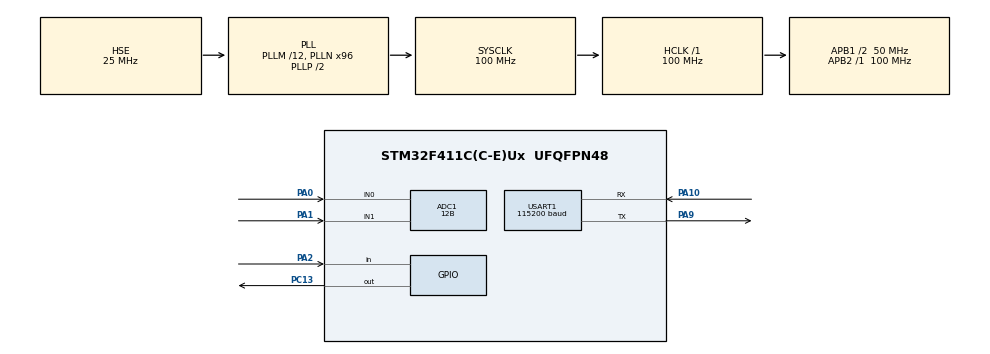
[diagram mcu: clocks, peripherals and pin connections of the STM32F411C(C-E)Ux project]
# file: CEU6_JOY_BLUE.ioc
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ADC1.Channel-0\#ChannelRegularConversion=ADC_CHANNEL_0
ADC1.Channel-1\#ChannelRegularConversion=ADC_CHANNEL_1
ADC1.ContinuousConvMode=ENABLE
ADC1.DMAContinuousRequests=DISABLE
ADC1.EOCSelection=ADC_EOC_SINGLE_CONV
ADC1.InjNumberOfConversion=0
ADC1.NbrOfConversion=2
ADC1.NbrOfConversionFlag=1
ADC1.Rank-0\#ChannelRegularConversion=1
ADC1.Rank-1\#ChannelRegularConversion=2
ADC1.Resolution=ADC_RESOLUTION_12B
ADC1.SamplingTime-0\#ChannelRegularConversion=ADC_SAMPLETIME_144CYCLES
ADC1.SamplingTime-1\#ChannelRegularConversion=ADC_SAMPLETIME_144CYCLES
ADC1.ScanConvMode=ENABLE
ADC1.master=1
Mcu.Family=STM32F4
Mcu.Name=STM32F411C(C-E)Ux
Mcu.Package=UFQFPN48
NVIC.ADC_IRQn=true\:0\:0\:false\:false\:true\:true\:true\:true
NVIC.PriorityGroup=NVIC_PRIORITYGROUP_4
NVIC.USART1_IRQn=true\:0\:0\:false\:false\:true\:true\:true\:true
PA0-WKUP.Signal=ADCx_IN0
PA1.Signal=ADCx_IN1
PA10.Mode=Asynchronous
PA10.Signal=USART1_RX
PA13.Mode=Serial_Wire
PA13.Signal=SYS_JTMS-SWDIO
PA14.Mode=Serial_Wire
PA14.Signal=SYS_JTCK-SWCLK
PA2.GPIO_PuPd=GPIO_PULLUP
PA2.Signal=GPIO_Input
PA9.Mode=Asynchronous
PA9.Signal=USART1_TX
PC13-ANTI_TAMP.Signal=GPIO_Output
PH0\ -\ OSC_IN.Mode=HSE-External-Oscillator
PH0\ -\ OSC_IN.Signal=RCC_OSC_IN
PH1\ -\ OSC_OUT.Mode=HSE-External-Oscillator
PH1\ -\ OSC_OUT.Signal=RCC_OSC_OUT
ProjectManager.HeapSize=0x200
ProjectManager.StackSize=0x400
ProjectManager.TargetToolchain=STM32CubeIDE
RCC.48MHZClocksFreq_Value=50000000
RCC.AHBFreq_Value=100000000
RCC.APB1CLKDivider=RCC_HCLK_DIV2
RCC.APB1Freq_Value=50000000
RCC.APB1TimFreq_Value=100000000
RCC.APB2Freq_Value=100000000
RCC.APB2TimFreq_Value=100000000
RCC.CortexFreq_Value=100000000
RCC.HCLKFreq_Value=100000000
RCC.HSE_VALUE=25000000
RCC.HSI_VALUE=16000000
RCC.LSE_VALUE=32768
RCC.PLLM=12
RCC.PLLN=96
RCC.PLLSourceVirtual=RCC_PLLSOURCE_HSE
RCC.SYSCLKFreq_VALUE=100000000
RCC.SYSCLKSource=RCC_SYSCLKSOURCE_PLLCLK
RCC.VCOOutputFreq_Value=200000000
SH.ADCx_IN0.0=ADC1_IN0,IN0
SH.ADCx_IN1.0=ADC1_IN1,IN1
USART1.BaudRate=115200
USART1.VirtualMode=VM_ASYNC
board=custom

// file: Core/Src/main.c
/* USER CODE BEGIN Header */
/**
  ******************************************************************************
  * @file           : main.c
  * @brief          : Main program body
  ******************************************************************************
  * @attention
  *
  * Copyright (c) 2026 STMicroelectronics.
  * All rights reserved.
  *
  * This software is licensed under terms that can be found in the LICENSE file
  * in the root directory of this software component.
  * If no LICENSE file comes with this software, it is provided AS-IS.
  *
  ******************************************************************************
  */
/* USER CODE END Header */
#include "main.h"
#include "adc.h"
#include "usart.h"
#include "gpio.h"

/* USER CODE BEGIN Includes */
uint32_t adcX, adcY;
uint8_t tx = 0x05;
/* USER CODE END Includes */

void SystemClock_Config(void);

int main(void)
{

  /* MCU Configuration--------------------------------------------------------*/

  /* Reset of all peripherals, Initializes the Flash interface and the Systick. */
  HAL_Init();

  /* Configure the system clock */
  SystemClock_Config();

  /* Initialize all configured peripherals */
  MX_GPIO_Init();
  MX_ADC1_Init();
  MX_USART1_UART_Init();

  /* Infinite loop */
  /* USER CODE BEGIN WHILE */
  while (1)
  {
	 HAL_ADC_Start(&hadc1);

	  		  	    HAL_ADC_PollForConversion(&hadc1, HAL_MAX_DELAY);
	  		  	    adcX = HAL_ADC_GetValue(&hadc1);

	  		  	    HAL_ADC_PollForConversion(&hadc1, HAL_MAX_DELAY);
	  		  	    adcY = HAL_ADC_GetValue(&hadc1);

	  		  	    HAL_ADC_Stop(&hadc1);

	  		     if(HAL_GPIO_ReadPin(GPIOA, GPIO_PIN_2)== GPIO_PIN_RESET)
	  		     {
	  		    	 tx = 0x05;
	  		     }

	  		     // X축 : 전진 / 후진
	  		     else if(adcX < 1500)
	  		     {
	  		         tx = 0x01;
	  		     }
	  		     else if(adcX > 2500)
	  		     {
	  		         tx = 0x02;
	  		     }

	  		     // Y축 : 좌 / 우
	  		     else if(adcY > 2500)
	  		     {
	  		         tx = 0x04;
	  		     }
	  		     else if(adcY < 1500)
	  		     {
	  		         tx = 0x03;
	  		     }
	  		     else
	  		     {
	  		         tx = 0x05;
	  		     }

	  		     // 자동차로 전송
	  		     HAL_UART_Transmit(&huart1,
	  		                       &tx,
	  		                       1,
	  		                       10);
	  		     HAL_Delay(1);

    /* USER CODE END WHILE */

  }
}

void SystemClock_Config(void)
{
  RCC_OscInitTypeDef RCC_OscInitStruct = {0};
  RCC_ClkInitTypeDef RCC_ClkInitStruct = {0};

  /** Configure the main internal regulator output voltage
  */
  __HAL_RCC_PWR_CLK_ENABLE();
  __HAL_PWR_VOLTAGESCALING_CONFIG(PWR_REGULATOR_VOLTAGE_SCALE1);

  /** Initializes the RCC Oscillators according to the specified parameters
  * in the RCC_OscInitTypeDef structure.
  */
  RCC_OscInitStruct.OscillatorType = RCC_OSCILLATORTYPE_HSE;
  RCC_OscInitStruct.HSEState = RCC_HSE_ON;
  RCC_OscInitStruct.PLL.PLLState = RCC_PLL_ON;
  RCC_OscInitStruct.PLL.PLLSource = RCC_PLLSOURCE_HSE;
  RCC_OscInitStruct.PLL.PLLM = 12;
  RCC_OscInitStruct.PLL.PLLN = 96;
  RCC_OscInitStruct.PLL.PLLP = RCC_PLLP_DIV2;
  RCC_OscInitStruct.PLL.PLLQ = 4;
  if (HAL_RCC_OscConfig(&RCC_OscInitStruct) != HAL_OK)
  {
    Error_Handler();
  }

  /** Initializes the CPU, AHB and APB buses clocks
  */
  RCC_ClkInitStruct.ClockType = RCC_CLOCKTYPE_HCLK|RCC_CLOCKTYPE_SYSCLK
                              |RCC_CLOCKTYPE_PCLK1|RCC_CLOCKTYPE_PCLK2;
  RCC_ClkInitStruct.SYSCLKSource = RCC_SYSCLKSOURCE_PLLCLK;
  RCC_ClkInitStruct.AHBCLKDivider = RCC_SYSCLK_DIV1;
  RCC_ClkInitStruct.APB1CLKDivider = RCC_HCLK_DIV2;
  RCC_ClkInitStruct.APB2CLKDivider = RCC_HCLK_DIV1;

  if (HAL_RCC_ClockConfig(&RCC_ClkInitStruct, FLASH_LATENCY_3) != HAL_OK)
  {
    Error_Handler();
  }
}

void Error_Handler(void)
{
  __disable_irq();
  while (1)
  {
  }
}
